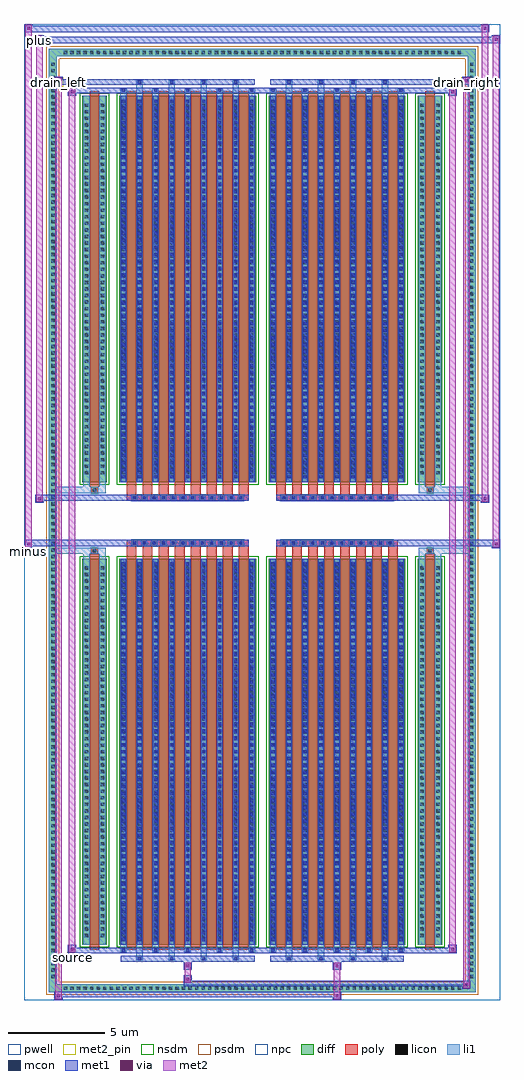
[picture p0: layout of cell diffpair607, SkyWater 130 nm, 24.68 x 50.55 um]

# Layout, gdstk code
import gdstk
lib = gdstk.Library(unit=1e-6, precision=5e-09)
def R(c, l, rs):  # rectangles x0, y0, x1, y1
    for r in rs: c.add(gdstk.rectangle(r[:2], r[2:], *l))
def A(c, l, x, y, w, h, nx, ny, dx, dy):  # array of equal rectangles
    R(c, l, [(x+i*dx, y+j*dy, x+i*dx+w, y+j*dy+h) for i in range(nx) for j in range(ny)])
def P(c, l, *ps):  # polygons
    for p in ps: c.add(gdstk.Polygon(p, *l))
pwell = (64, 44)
diff = (65, 20)
poly = (66, 20)
licon = (66, 44)
li1 = (67, 20)
mcon = (67, 44)
met1 = (68, 20)
via = (68, 44)
met2_pin = (69, 16)
met2 = (69, 20)
nsdm = (93, 44)
psdm = (94, 20)
npc = (95, 20)

diffpair607 = lib.new_cell('diffpair607')
R(diffpair607, pwell, [(-12.32,-24.84,12.32,25.71), (-9.64,-23.03,-0.01,-0.805), (0.01,-23.03,9.64,-0.805), (-9.64,0.805,-0.01,23.03), (0.01,0.805,9.64,23.03)])
A(diffpair607, diff, -10.405, -24.44, 0.41, 0.41, 61, 2, 0.34, 48.47)
A(diffpair607, diff, -11.05, -23.835, 0.41, 0.41, 1, 140, 0, 0.34)
A(diffpair607, diff, 10.64, -23.835, 0.41, 0.41, 1, 140, 0, 0.34)
R(diffpair607, diff, [(-10.405,-24.44,10.405,-24.03), (-11.05,-23.835,-10.64,23.835), (10.64,-23.835,11.05,23.835), (-9.33,-21.985,-8.05,-1.985), (-7.41,-21.985,-0.32,-1.985), (0.32,-21.985,7.41,-1.985), (8.05,-21.985,9.33,-1.985), (-9.33,1.985,-8.05,21.985), (-7.41,1.985,-0.32,21.985), (0.32,1.985,7.41,21.985), (8.05,1.985,9.33,21.985), (-10.405,24.03,10.405,24.44)])
P(diffpair607, diff, [(11.05,24.44),(-11.05,24.44),(-11.05,-24.03),(-10.64,-24.03),(-10.64,24.03),(10.64,24.03),(10.64,-24.03),(-10.64,-24.03),(-11.05,-24.03),(-11.05,-24.44),(11.05,-24.44)])
A(diffpair607, poly, -7.02, -22.235, 0.5, 20.5, 8, 2, 0.83, 23.97)
A(diffpair607, poly, 0.71, -22.235, 0.5, 20.5, 8, 2, 0.83, 23.97)
A(diffpair607, poly, -7.02, -1.735, 0.5, 0.4, 8, 2, 0.83, 3.07)
A(diffpair607, poly, 0.71, -1.735, 0.5, 0.4, 8, 2, 0.83, 3.07)
A(diffpair607, poly, -6.78, -1.335, 0.33, 0.33, 12, 2, 0.5, 2.34)
A(diffpair607, poly, 0.95, -1.335, 0.33, 0.33, 12, 2, 0.5, 2.34)
R(diffpair607, poly, [(-8.94,-22.235,-8.44,-1.735), (8.44,-22.235,8.94,-1.735), (-8.855,-1.735,-8.525,-1.405), (-8.855,-1.735,-8.525,-1.405), (8.525,-1.735,8.855,-1.405), (8.525,-1.735,8.855,-1.405), (-7.02,-1.335,-0.71,-1.005), (0.71,-1.335,7.02,-1.005), (-7.02,1.005,-0.71,1.335), (0.71,1.005,7.02,1.335), (-8.855,1.405,-8.525,1.735), (-8.855,1.405,-8.525,1.735), (8.525,1.405,8.855,1.735), (8.525,1.405,8.855,1.735), (-8.94,1.735,-8.44,22.235), (8.44,1.735,8.94,22.235)])
A(diffpair607, licon, -10.285, -24.32, 0.17, 0.17, 61, 2, 0.34, 48.47)
A(diffpair607, licon, -10.93, -23.715, 0.17, 0.17, 1, 140, 0, 0.34)
A(diffpair607, licon, 10.76, -23.715, 0.17, 0.17, 1, 140, 0, 0.34)
A(diffpair607, licon, -9.19, -21.59, 0.17, 0.17, 1, 57, 0, 0.34)
A(diffpair607, licon, -8.36, -21.59, 0.17, 0.17, 1, 57, 0, 0.34)
A(diffpair607, licon, -7.27, -21.59, 0.17, 0.17, 9, 57, 0.83, 0.34)
A(diffpair607, licon, 0.46, -21.59, 0.17, 0.17, 9, 57, 0.83, 0.34)
A(diffpair607, licon, 8.19, -21.59, 0.17, 0.17, 1, 57, 0, 0.34)
A(diffpair607, licon, 9.02, -21.59, 0.17, 0.17, 1, 57, 0, 0.34)
A(diffpair607, licon, -6.7, -1.255, 0.17, 0.17, 12, 2, 0.5, 2.34)
A(diffpair607, licon, 1.03, -1.255, 0.17, 0.17, 12, 2, 0.5, 2.34)
A(diffpair607, licon, -9.19, 2.38, 0.17, 0.17, 1, 57, 0, 0.34)
A(diffpair607, licon, -8.36, 2.38, 0.17, 0.17, 1, 57, 0, 0.34)
A(diffpair607, licon, -7.27, 2.38, 0.17, 0.17, 9, 57, 0.83, 0.34)
A(diffpair607, licon, 0.46, 2.38, 0.17, 0.17, 9, 57, 0.83, 0.34)
A(diffpair607, licon, 8.19, 2.38, 0.17, 0.17, 1, 57, 0, 0.34)
A(diffpair607, licon, 9.02, 2.38, 0.17, 0.17, 1, 57, 0, 0.34)
R(diffpair607, licon, [(-8.775,-1.655,-8.605,-1.485), (8.605,-1.655,8.775,-1.485), (-8.775,1.485,-8.605,1.655), (8.605,1.485,8.775,1.655)])
A(diffpair607, li1, -10.365, -24.4, 0.33, 0.33, 61, 2, 0.34, 48.47)
A(diffpair607, li1, -11.01, -23.795, 0.33, 0.33, 1, 140, 0, 0.34)
A(diffpair607, li1, 10.68, -23.795, 0.33, 0.33, 1, 140, 0, 0.34)
A(diffpair607, li1, -6.52, -22.79, 0.33, 0.805, 4, 2, 1.66, 44.775)
A(diffpair607, li1, -6.44, -22.79, 0.17, 0.17, 4, 2, 1.66, 45.41)
A(diffpair607, li1, 1.21, -22.79, 0.33, 0.805, 4, 2, 1.66, 44.775)
A(diffpair607, li1, 1.29, -22.79, 0.17, 0.17, 4, 2, 1.66, 45.41)
A(diffpair607, li1, -7.35, -22.36, 0.33, 0.375, 5, 2, 1.66, 44.345)
A(diffpair607, li1, -7.27, -22.36, 0.17, 0.17, 5, 2, 1.66, 44.55)
A(diffpair607, li1, 0.38, -22.36, 0.33, 0.375, 5, 2, 1.66, 44.345)
A(diffpair607, li1, 0.46, -22.36, 0.17, 0.17, 5, 2, 1.66, 44.55)
A(diffpair607, li1, -7.35, -21.985, 0.33, 20, 9, 2, 0.83, 23.97)
A(diffpair607, li1, 0.38, -21.985, 0.33, 20, 9, 2, 0.83, 23.97)
A(diffpair607, li1, -7.27, -21.79, 0.17, 0.17, 9, 55, 0.83, 0.36)
A(diffpair607, li1, -7.27, -21.79, 0.17, 19.61, 9, 2, 0.83, 23.97)
A(diffpair607, li1, 0.46, -21.79, 0.17, 0.17, 9, 55, 0.83, 0.36)
A(diffpair607, li1, 0.46, -21.79, 0.17, 19.61, 9, 2, 0.83, 23.97)
A(diffpair607, li1, -9.27, -21.67, 0.33, 0.33, 1, 57, 0, 0.34)
A(diffpair607, li1, -8.44, -21.67, 0.33, 0.33, 1, 57, 0, 0.34)
A(diffpair607, li1, -7.35, -21.67, 0.33, 0.33, 9, 57, 0.83, 0.34)
A(diffpair607, li1, 0.38, -21.67, 0.33, 0.33, 9, 57, 0.83, 0.34)
A(diffpair607, li1, 8.11, -21.67, 0.33, 0.33, 1, 57, 0, 0.34)
A(diffpair607, li1, 8.94, -21.67, 0.33, 0.33, 1, 57, 0, 0.34)
A(diffpair607, li1, -6.78, -1.335, 0.33, 0.33, 12, 2, 0.5, 2.34)
A(diffpair607, li1, 0.95, -1.335, 0.33, 0.33, 12, 2, 0.5, 2.34)
A(diffpair607, li1, -7.27, 2.18, 0.17, 0.17, 9, 55, 0.83, 0.36)
A(diffpair607, li1, 0.46, 2.18, 0.17, 0.17, 9, 55, 0.83, 0.36)
A(diffpair607, li1, -9.27, 2.3, 0.33, 0.33, 1, 57, 0, 0.34)
A(diffpair607, li1, -8.44, 2.3, 0.33, 0.33, 1, 57, 0, 0.34)
A(diffpair607, li1, -7.35, 2.3, 0.33, 0.33, 9, 57, 0.83, 0.34)
A(diffpair607, li1, 0.38, 2.3, 0.33, 0.33, 9, 57, 0.83, 0.34)
A(diffpair607, li1, 8.11, 2.3, 0.33, 0.33, 1, 57, 0, 0.34)
A(diffpair607, li1, 8.94, 2.3, 0.33, 0.33, 1, 57, 0, 0.34)
R(diffpair607, li1, [(-11.05,-24.44,-10.64,-24.03), (-11.05,-24.44,-10.64,-24.03), (-10.64,-24.44,10.64,-24.03), (10.64,-24.44,11.05,-24.03), (10.64,-24.44,11.05,-24.03), (-11.05,-24.03,-10.64,24.03), (10.64,-24.03,11.05,24.03), (-9.27,-21.985,-8.94,-1.985), (-8.44,-21.985,-8.11,-1.985), (8.11,-21.985,8.44,-1.985), (8.94,-21.985,9.27,-1.985), (-9.27,-1.985,-8.94,-1.405), (-8.44,-1.985,-8.11,-1.405), (8.11,-1.985,8.44,-1.405), (8.94,-1.985,9.27,-1.405), (-11.05,-1.735,-8.855,-1.405), (-9.27,-1.735,-8.855,-1.405), (-8.855,-1.735,-8.525,-1.405), (-8.525,-1.735,-8.11,-1.405), (8.11,-1.735,8.525,-1.405), (8.525,-1.735,8.855,-1.405), (8.525,-1.735,11.05,-1.405), (8.855,-1.735,9.27,-1.405), (-11.05,1.405,-8.855,1.735), (-9.27,1.405,-8.855,1.735), (-9.27,1.405,-8.94,1.985), (-8.855,1.405,-8.525,1.735), (-8.525,1.405,-8.11,1.735), (-8.44,1.405,-8.11,1.985), (8.11,1.405,8.525,1.735), (8.11,1.405,8.44,1.985), (8.525,1.405,8.855,1.735), (8.525,1.405,11.05,1.735), (8.855,1.405,9.27,1.735), (8.94,1.405,9.27,1.985), (-9.27,1.985,-8.94,21.985), (-8.44,1.985,-8.11,21.985), (8.11,1.985,8.44,21.985), (8.94,1.985,9.27,21.985), (-11.05,24.03,-10.64,24.44), (-11.05,24.03,-10.64,24.44), (-10.64,24.03,10.64,24.44), (10.64,24.03,11.05,24.44), (10.64,24.03,11.05,24.44)])
A(diffpair607, mcon, -6.44, -22.79, 0.17, 0.17, 4, 2, 1.66, 45.41)
A(diffpair607, mcon, 1.29, -22.79, 0.17, 0.17, 4, 2, 1.66, 45.41)
A(diffpair607, mcon, -7.27, -22.36, 0.17, 0.17, 5, 2, 1.66, 44.55)
A(diffpair607, mcon, 0.46, -22.36, 0.17, 0.17, 5, 2, 1.66, 44.55)
A(diffpair607, mcon, -7.27, -21.79, 0.17, 0.17, 9, 55, 0.83, 0.36)
A(diffpair607, mcon, 0.46, -21.79, 0.17, 0.17, 9, 55, 0.83, 0.36)
A(diffpair607, mcon, -6.7, -1.255, 0.17, 0.17, 12, 2, 0.5, 2.34)
A(diffpair607, mcon, 1.03, -1.255, 0.17, 0.17, 12, 2, 0.5, 2.34)
A(diffpair607, mcon, -7.27, 2.18, 0.17, 0.17, 9, 55, 0.83, 0.36)
A(diffpair607, mcon, 0.46, 2.18, 0.17, 0.17, 9, 55, 0.83, 0.36)
A(diffpair607, met1, -6.5, -22.85, 0.29, 0.29, 4, 2, 1.66, 45.41)
A(diffpair607, met1, 1.23, -22.85, 0.29, 0.29, 4, 2, 1.66, 45.41)
A(diffpair607, met1, -7.33, -22.42, 0.29, 0.29, 5, 2, 1.66, 44.55)
A(diffpair607, met1, 0.4, -22.42, 0.29, 0.29, 5, 2, 1.66, 44.55)
A(diffpair607, met1, -7.33, -21.985, 0.29, 20, 9, 2, 0.83, 23.97)
A(diffpair607, met1, 0.4, -21.985, 0.29, 20, 9, 2, 0.83, 23.97)
A(diffpair607, met1, -7.33, -21.85, 0.29, 0.29, 9, 55, 0.83, 0.36)
A(diffpair607, met1, 0.4, -21.85, 0.29, 0.29, 9, 55, 0.83, 0.36)
A(diffpair607, met1, -6.76, -1.315, 0.29, 0.29, 12, 2, 0.5, 2.34)
A(diffpair607, met1, 0.97, -1.315, 0.29, 0.29, 12, 2, 0.5, 2.34)
A(diffpair607, met1, -7.33, 2.12, 0.29, 0.29, 9, 55, 0.83, 0.36)
A(diffpair607, met1, 0.4, 2.12, 0.29, 0.29, 9, 55, 0.83, 0.36)
R(diffpair607, met1, [(-10.78,-24.84,-10.35,-24.41), (3.65,-24.84,4.08,-24.41), (-10.78,-24.7,4.08,-24.41), (10.35,-24.27,10.78,-23.84), (-4.08,-24.13,10.78,-23.84), (-4.08,-23.99,-3.65,-23.56), (-4.08,-23.28,-3.65,-22.85), (3.65,-23.28,4.08,-22.85), (-7.33,-22.85,-0.4,-22.56), (0.4,-22.85,7.33,-22.56), (-10.07,-22.42,-9.64,-21.99), (-10.07,-22.42,-7.33,-22.13), (-7.33,-22.42,-0.4,-22.13), (-0.4,-22.42,0.4,-22.13), (0.4,-22.42,7.33,-22.13), (7.33,-22.42,10.07,-22.13), (9.64,-22.42,10.07,-21.99), (-12.32,-1.435,-11.89,-1.005), (11.89,-1.435,12.32,-1.005), (-12.32,-1.335,-0.71,-1.005), (-7.02,-1.335,-0.71,-1.005), (0.71,-1.335,7.02,-1.005), (0.71,-1.335,12.32,-1.005), (-11.75,0.905,-11.32,1.335), (11.32,0.905,11.75,1.335), (-11.75,1.005,-7.02,1.335), (-7.02,1.005,-0.71,1.335), (0.71,1.005,7.02,1.335), (7.02,1.005,11.75,1.335), (-10.07,21.99,-9.64,22.42), (9.64,21.99,10.07,22.42), (-10.07,22.13,-7.33,22.42), (-7.33,22.13,-0.4,22.42), (-0.4,22.13,0.4,22.42), (0.4,22.13,7.33,22.42), (7.33,22.13,10.07,22.42), (-10.78,22.56,-10.35,22.99), (-10.78,22.56,-7.33,22.85), (-7.33,22.56,-0.4,22.85), (0.4,22.56,7.33,22.85), (7.33,22.56,10.78,22.85), (10.35,22.56,10.78,22.99), (-11.75,24.71,-11.32,25.14), (-11.75,24.71,-9.64,25.04), (-9.64,24.71,9.64,25.04), (9.64,24.71,12.32,25.04), (11.89,24.71,12.32,25.14), (-12.32,25.28,-11.89,25.71), (-12.32,25.28,-9.64,25.61), (-9.64,25.28,9.64,25.61), (9.64,25.28,11.75,25.61), (11.32,25.28,11.75,25.71)])
R(diffpair607, via, [(-10.64,-24.7,-10.49,-24.55), (3.79,-24.7,3.94,-24.55), (10.49,-24.13,10.64,-23.98), (-3.94,-23.85,-3.79,-23.7), (-3.94,-23.14,-3.79,-22.99), (3.79,-23.14,3.94,-22.99), (-9.93,-22.28,-9.78,-22.13), (9.78,-22.28,9.93,-22.13), (-12.18,-1.295,-12.03,-1.145), (12.03,-1.295,12.18,-1.145), (-11.61,1.045,-11.46,1.195), (11.46,1.045,11.61,1.195), (-9.93,22.13,-9.78,22.28), (9.78,22.13,9.93,22.28), (-10.64,22.7,-10.49,22.85), (10.49,22.7,10.64,22.85), (-11.61,24.85,-11.46,25), (12.03,24.85,12.18,25), (-12.18,25.42,-12.03,25.57), (11.46,25.42,11.61,25.57)])
R(diffpair607, met2_pin, [(-10.105,-22.87,-9.605,-22.37), (-12.355,-1.885,-11.855,-1.385), (-10.815,22.44,-10.315,22.94), (10.315,22.44,10.815,22.94), (-11.785,24.59,-11.285,25.09)])
R(diffpair607, met2, [(-10.73,-24.79,-10.4,-24.46), (-10.73,-24.79,-10.4,22.94), (3.7,-24.79,4.03,-24.46), (3.7,-24.46,4.03,-23.23), (10.4,-24.22,10.73,-23.89), (10.4,-24.22,10.73,22.94), (-4.03,-23.94,-3.7,-23.61), (-4.03,-23.61,-3.7,-23.23), (-4.03,-23.23,-3.7,-22.9), (3.7,-23.23,4.03,-22.9), (-10.02,-22.37,-9.69,-22.04), (-10.02,-22.37,-9.69,22.37), (9.69,-22.37,10.02,-22.04), (9.69,-22.37,10.02,22.37), (-12.27,-1.385,-11.94,-1.055), (-12.27,-1.385,-11.94,25.66), (11.94,-1.385,12.27,-1.055), (11.94,-1.385,12.27,25.09), (-11.7,0.955,-11.37,1.285), (-11.7,0.955,-11.37,25.09), (11.37,0.955,11.7,1.285), (11.37,0.955,11.7,25.66), (-10.02,22.04,-9.69,22.37), (9.69,22.04,10.02,22.37), (-10.73,22.61,-10.4,22.94), (10.4,22.61,10.73,22.94), (-11.7,24.76,-11.37,25.09), (11.94,24.76,12.27,25.09), (-12.27,25.33,-11.94,25.66), (11.37,25.33,11.7,25.66)])
P(diffpair607, met2, [(12.27,-1.385),(12.27,-1.385),(12.27,-1.055),(12.27,-1.055)],
  [(12.27,24.76),(12.27,24.76),(12.27,25.09),(12.27,25.09)],
  [(-11.94,-1.385),(-11.94,-1.385),(-11.94,-1.055),(-11.94,-1.055)],
  [(-11.94,25.33),(-11.94,25.33),(-11.94,25.66),(-11.94,25.66)],
  [(11.7,0.955),(11.7,0.955),(11.7,1.285),(11.7,1.285)],
  [(11.7,25.33),(11.7,25.33),(11.7,25.66),(11.7,25.66)],
  [(-11.37,0.955),(-11.37,0.955),(-11.37,1.285),(-11.37,1.285)],
  [(-11.37,24.76),(-11.37,24.76),(-11.37,25.09),(-11.37,25.09)],
  [(-10.4,-24.79),(-10.4,-24.79),(-10.4,-24.46),(-10.4,-24.46)],
  [(-10.4,22.61),(-10.4,22.61),(-10.4,22.94),(-10.4,22.94)],
  [(10.73,-24.22),(10.73,-24.22),(10.73,-23.89),(10.73,-23.89)],
  [(10.73,22.61),(10.73,22.61),(10.73,22.94),(10.73,22.94)],
  [(-9.69,-22.37),(-9.69,-22.37),(-9.69,-22.04),(-9.69,-22.04)],
  [(-9.69,22.04),(-9.69,22.04),(-9.69,22.37),(-9.69,22.37)],
  [(10.02,-22.37),(10.02,-22.37),(10.02,-22.04),(10.02,-22.04)],
  [(10.02,22.04),(10.02,22.04),(10.02,22.37),(10.02,22.37)])
R(diffpair607, nsdm, [(-9.46,-22.115,-7.92,-1.855), (-7.54,-22.115,-0.19,-1.855), (0.19,-22.115,7.54,-1.855), (7.92,-22.115,9.46,-1.855), (-9.46,1.855,-7.92,22.115), (-7.54,1.855,-0.19,22.115), (0.19,1.855,7.54,22.115), (7.92,1.855,9.46,22.115)])
P(diffpair607, psdm, [(11.18,24.57),(-11.18,24.57),(-11.18,-23.9),(-10.51,-23.9),(-10.51,23.9),(10.51,23.9),(10.51,-23.9),(-10.51,-23.9),(-11.18,-23.9),(-11.18,-24.57),(11.18,-24.57)])
A(diffpair607, npc, -6.8, -1.355, 0.37, 0.37, 12, 2, 0.5, 2.34)
A(diffpair607, npc, 0.93, -1.355, 0.37, 0.37, 12, 2, 0.5, 2.34)
R(diffpair607, npc, [(-8.875,-1.755,-8.505,-1.385), (8.505,-1.755,8.875,-1.385), (-6.8,-1.355,-5.93,-0.985), (-6.8,-1.355,-5.93,-0.985), (-6.3,-1.355,-5.43,-0.985), (-6.3,-1.355,-5.43,-0.985), (-5.8,-1.355,-4.93,-0.985), (-5.8,-1.355,-4.93,-0.985), (-5.3,-1.355,-4.43,-0.985), (-5.3,-1.355,-4.43,-0.985), (-4.8,-1.355,-3.93,-0.985), (-4.8,-1.355,-3.93,-0.985), (-4.3,-1.355,-3.43,-0.985), (-4.3,-1.355,-3.43,-0.985), (-3.8,-1.355,-2.93,-0.985), (-3.8,-1.355,-2.93,-0.985), (-3.3,-1.355,-2.43,-0.985), (-3.3,-1.355,-2.43,-0.985), (-2.8,-1.355,-1.93,-0.985), (-2.8,-1.355,-1.93,-0.985), (-2.3,-1.355,-1.43,-0.985), (-2.3,-1.355,-1.43,-0.985), (-1.8,-1.355,-0.93,-0.985), (-1.8,-1.355,-0.93,-0.985), (0.93,-1.355,1.8,-0.985), (0.93,-1.355,1.8,-0.985), (1.43,-1.355,2.3,-0.985), (1.43,-1.355,2.3,-0.985), (1.93,-1.355,2.8,-0.985), (1.93,-1.355,2.8,-0.985), (2.43,-1.355,3.3,-0.985), (2.43,-1.355,3.3,-0.985), (2.93,-1.355,3.8,-0.985), (2.93,-1.355,3.8,-0.985), (3.43,-1.355,4.3,-0.985), (3.43,-1.355,4.3,-0.985), (3.93,-1.355,4.8,-0.985), (3.93,-1.355,4.8,-0.985), (4.43,-1.355,5.3,-0.985), (4.43,-1.355,5.3,-0.985), (4.93,-1.355,5.8,-0.985), (4.93,-1.355,5.8,-0.985), (5.43,-1.355,6.3,-0.985), (5.43,-1.355,6.3,-0.985), (5.93,-1.355,6.8,-0.985), (5.93,-1.355,6.8,-0.985), (-6.8,0.985,-5.93,1.355), (-6.8,0.985,-5.93,1.355), (-6.3,0.985,-5.43,1.355), (-6.3,0.985,-5.43,1.355), (-5.8,0.985,-4.93,1.355), (-5.8,0.985,-4.93,1.355), (-5.3,0.985,-4.43,1.355), (-5.3,0.985,-4.43,1.355), (-4.8,0.985,-3.93,1.355), (-4.8,0.985,-3.93,1.355), (-4.3,0.985,-3.43,1.355), (-4.3,0.985,-3.43,1.355), (-3.8,0.985,-2.93,1.355), (-3.8,0.985,-2.93,1.355), (-3.3,0.985,-2.43,1.355), (-3.3,0.985,-2.43,1.355), (-2.8,0.985,-1.93,1.355), (-2.8,0.985,-1.93,1.355), (-2.3,0.985,-1.43,1.355), (-2.3,0.985,-1.43,1.355), (-1.8,0.985,-0.93,1.355), (-1.8,0.985,-0.93,1.355), (0.93,0.985,1.8,1.355), (0.93,0.985,1.8,1.355), (1.43,0.985,2.3,1.355), (1.43,0.985,2.3,1.355), (1.93,0.985,2.8,1.355), (1.93,0.985,2.8,1.355), (2.43,0.985,3.3,1.355), (2.43,0.985,3.3,1.355), (2.93,0.985,3.8,1.355), (2.93,0.985,3.8,1.355), (3.43,0.985,4.3,1.355), (3.43,0.985,4.3,1.355), (3.93,0.985,4.8,1.355), (3.93,0.985,4.8,1.355), (4.43,0.985,5.3,1.355), (4.43,0.985,5.3,1.355), (4.93,0.985,5.8,1.355), (4.93,0.985,5.8,1.355), (5.43,0.985,6.3,1.355), (5.43,0.985,6.3,1.355), (5.93,0.985,6.8,1.355), (5.93,0.985,6.8,1.355), (-8.875,1.385,-8.505,1.755), (8.505,1.385,8.875,1.755)])
diffpair607.add(gdstk.Label('minus', (-12.105,-1.635), layer=69, texttype=5))
diffpair607.add(gdstk.Label('drain_right', (10.565,22.69), layer=69, texttype=5))
diffpair607.add(gdstk.Label('drain_left', (-10.565,22.69), layer=69, texttype=5))
diffpair607.add(gdstk.Label('source', (-9.855,-22.62), layer=69, texttype=5))
diffpair607.add(gdstk.Label('plus', (-11.535,24.84), layer=69, texttype=5))

lib.write_gds('diffpair607.gds')
